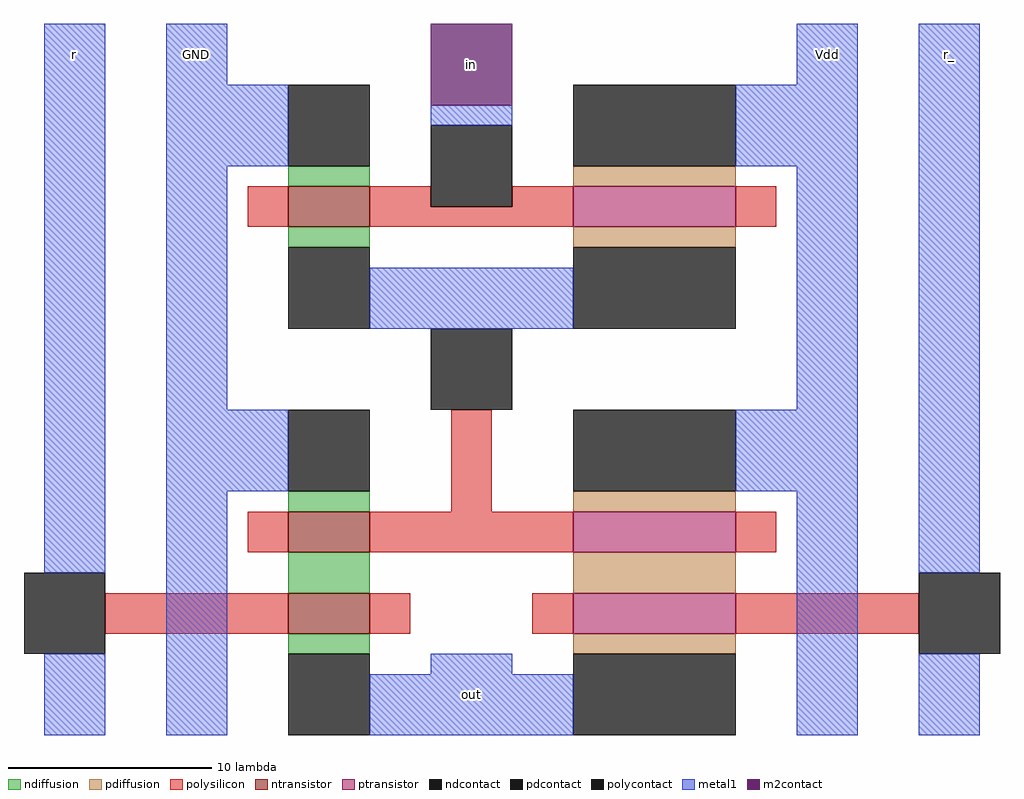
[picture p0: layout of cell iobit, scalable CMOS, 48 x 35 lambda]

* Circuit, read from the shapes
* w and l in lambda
.subckt iobit GND Vdd in out r r_
M1 n1 r out VSUBS nfet w=4 l=2
M2 GND latch_0/in n1 VSUBS nfet w=4 l=2
M3 GND in latch_0/in VSUBS nfet w=4 l=2
M4 n2 r_ out NWELL pfet w=8 l=2
M5 Vdd latch_0/in n2 NWELL pfet w=8 l=2
M6 Vdd in latch_0/in NWELL pfet w=8 l=2
.ends

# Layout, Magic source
magic
tech scmos
<< polysilicon >>
rect 0 9 2 11
rect 6 10 9 11
rect 13 10 16 11
rect 6 9 16 10
rect 24 9 26 11
rect 10 -6 12 0
rect -7 -11 0 -9
rect 26 -11 33 -9
<< ndiffusion >>
rect 2 11 6 12
rect 2 8 6 9
<< pdiffusion >>
rect 16 11 24 12
rect 16 8 24 9
<< metal1 >>
rect -10 -8 -7 19
rect -10 -16 -7 -12
rect -4 16 -1 19
rect -4 12 2 16
rect 27 16 30 19
rect 9 14 13 15
rect -4 0 -1 12
rect 24 12 30 16
rect 6 4 16 7
rect 27 0 30 12
rect -4 -4 2 0
rect 24 -4 30 0
rect -4 -16 -1 -4
rect 9 -16 13 -12
rect 27 -16 30 -4
rect 33 -8 36 19
rect 33 -16 36 -12
<< ntransistor >>
rect 2 9 6 11
<< ptransistor >>
rect 16 9 24 11
<< polycontact >>
rect 9 10 13 14
rect 9 0 13 4
rect -11 -12 -7 -8
rect 33 -12 37 -8
<< ndcontact >>
rect 2 12 6 16
rect 2 4 6 8
<< pdcontact >>
rect 16 12 24 16
rect 16 4 24 8
<< m2contact >>
rect 9 15 13 19
use latch  latch_0
transform 0 1 2 -1 0 -6
box -6 -2 10 24
<< labels >>
rlabel m2contact 9 15 13 19 5 in
rlabel metal1 -4 16 -1 19 5 GND
rlabel metal1 27 16 30 19 5 Vdd
rlabel metal1 33 16 36 19 6 r_
rlabel metal1 -10 16 -7 19 4 r
rlabel metal1 9 -16 13 -12 1 out
<< end >>

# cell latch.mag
magic
tech scmos
<< polysilicon >>
rect -1 22 1 24
rect 3 22 5 24
rect -1 4 1 14
rect 3 12 5 14
rect 3 4 5 6
rect -1 -2 1 0
rect 3 -2 5 0
<< ndiffusion >>
rect -2 0 -1 4
rect 1 0 3 4
rect 5 0 6 4
<< pdiffusion >>
rect -2 14 -1 22
rect 1 14 3 22
rect 5 14 6 22
<< metal1 >>
rect 7 4 10 14
<< ntransistor >>
rect -1 0 1 4
rect 3 0 5 4
<< ptransistor >>
rect -1 14 1 22
rect 3 14 5 22
<< ndcontact >>
rect -6 0 -2 4
rect 6 0 10 4
<< pdcontact >>
rect -6 14 -2 22
rect 6 14 10 22
<< labels >>
rlabel polysilicon 3 22 5 24 5 latch_
rlabel polysilicon 3 -2 5 0 1 latch
rlabel pdcontact -6 14 -2 22 3 Vdd
rlabel ndcontact -6 0 -2 4 2 GND
rlabel polysilicon -1 8 1 10 1 in
rlabel metal1 7 8 10 10 7 out
<< end >>
